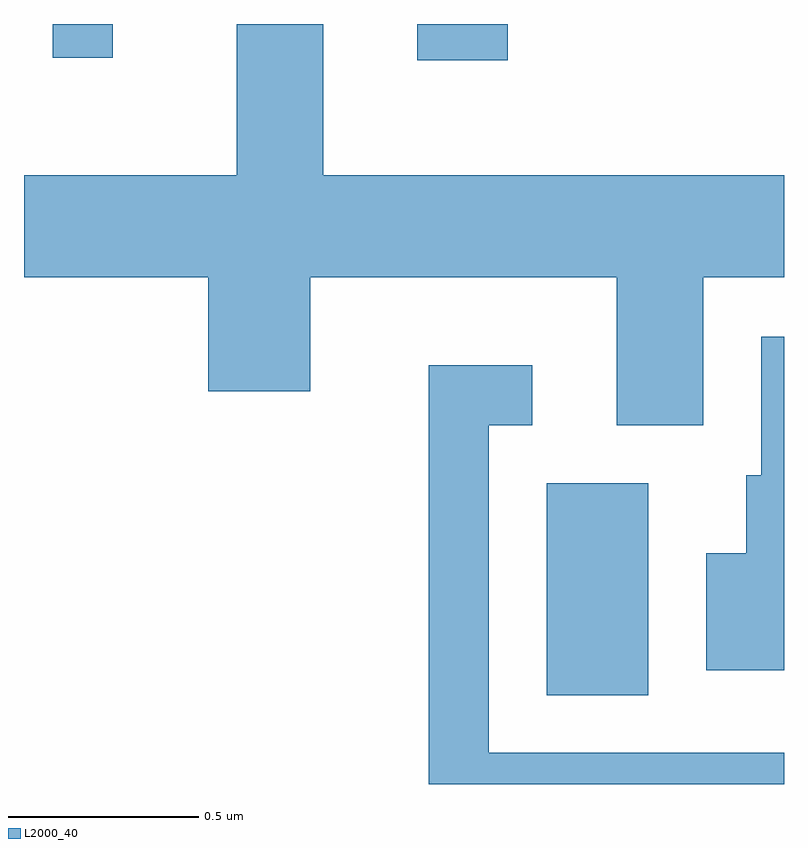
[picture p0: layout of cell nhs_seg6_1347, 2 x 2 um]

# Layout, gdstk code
import gdstk
lib = gdstk.Library(unit=1e-6, precision=1e-09)
def R(c, l, rs):  # rectangles x0, y0, x1, y1
    for r in rs: c.add(gdstk.rectangle(r[:2], r[2:], *l))
def P(c, l, *ps):  # polygons
    for p in ps: c.add(gdstk.Polygon(p, *l))
L2000_40 = (2000, 40)

nhs_seg6_1347 = lib.new_cell('nhs_seg6_1347')
R(nhs_seg6_1347, L2000_40, [(195.986,1644.396,196.254,1644.954), (195.646,1646.066,195.884,1646.162), (194.686,1646.073,194.844,1646.162)])
P(nhs_seg6_1347, L2000_40, [(196.399,1645.496),(196.611,1645.496),(196.611,1645.764),(195.399,1645.764),(195.399,1646.162),(195.171,1646.162),(195.171,1645.764),(194.611,1645.764),(194.611,1645.496),(195.096,1645.496),(195.096,1645.196),(195.364,1645.196),(195.364,1645.496),(196.171,1645.496),(196.171,1645.106),(196.399,1645.106)],
  [(196.611,1645.339),(196.551,1645.339),(196.551,1644.974),(196.511,1644.974),(196.511,1644.769),(196.406,1644.769),(196.406,1644.461),(196.611,1644.461)],
  [(196.611,1644.244),(195.834,1644.244),(195.834,1645.106),(195.948,1645.106),(195.948,1645.264),(195.676,1645.264),(195.676,1644.162),(196.611,1644.162)])

lib.write_gds('nhs_seg6_1347.gds')
